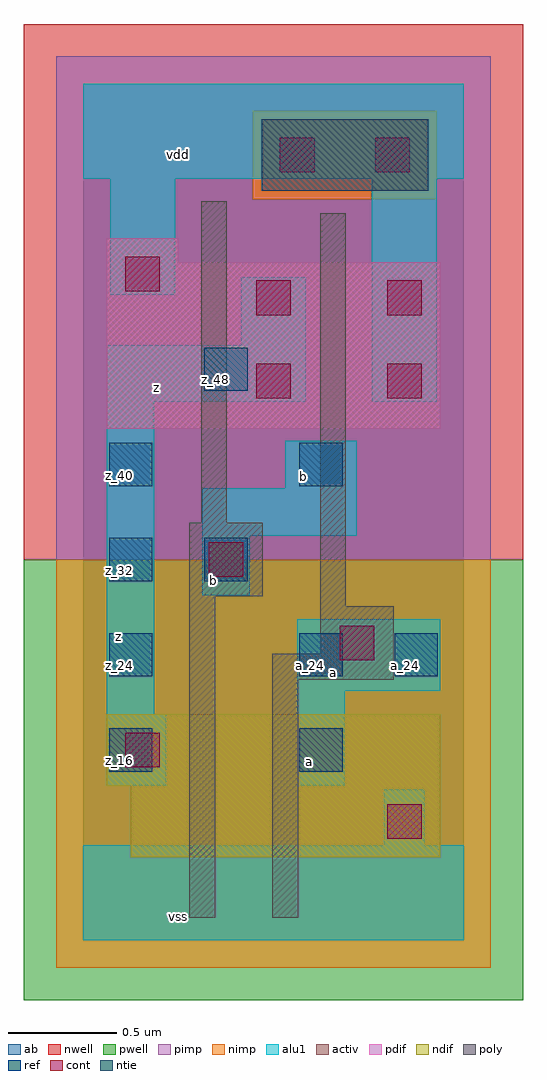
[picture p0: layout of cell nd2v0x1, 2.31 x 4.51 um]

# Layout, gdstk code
import gdstk
lib = gdstk.Library(unit=1e-6, precision=2.5e-09)
def R(c, l, rs):  # rectangles x0, y0, x1, y1
    for r in rs: c.add(gdstk.rectangle(r[:2], r[2:], *l))
def A(c, l, x, y, w, h, nx, ny, dx, dy):  # array of equal rectangles
    R(c, l, [(x+i*dx, y+j*dy, x+i*dx+w, y+j*dy+h) for i in range(nx) for j in range(ny)])
ndif = (3, 0)
pdif = (4, 0)
ntie = (5, 0)
ref = (24, 0)
cont = (25, 0)
pwell = (41, 0)
nwell = (42, 0)
activ = (43, 0)
pimp = (44, 0)
nimp = (45, 0)
poly = (46, 0)
alu1 = (49, 0)
ab = (63, 0)

nd2v0x1 = lib.new_cell('nd2v0x1')
R(nd2v0x1, ndif, [(0.22,0.385,1.65,0.715), (0.11,0.715,1.65,1.045)])
R(nd2v0x1, pdif, [(0.11,2.365,1.65,3.135), (0.11,3.135,0.44,3.245)])
R(nd2v0x1, ntie, [(0.825,3.465,1.595,3.795)])
A(nd2v0x1, ref, 0.12, 0.78, 0.2, 0.2, 1, 4, 0, 0.44)
R(nd2v0x1, ref, [(1,0.78,1.2,0.98), (1,1.22,1.2,1.42), (1.44,1.22,1.64,1.42), (0.56,1.66,0.76,1.86), (1,2.1,1.2,2.3), (0.56,2.54,0.76,2.74)])
R(nd2v0x1, cont, [(1.405,0.47,1.565,0.63), (0.195,0.8,0.355,0.96), (1.185,1.295,1.345,1.455), (0.58,1.68,0.74,1.84), (0.8,2.505,0.96,2.665), (1.405,2.505,1.565,2.665), (0.8,2.89,0.96,3.05), (1.405,2.89,1.565,3.05), (0.195,3,0.355,3.16), (0.91,3.55,1.07,3.71), (1.35,3.55,1.51,3.71)])
R(nd2v0x1, pwell, [(-0.275,-0.275,2.035,1.76)])
R(nd2v0x1, nwell, [(-0.275,1.76,2.035,4.235)])
R(nd2v0x1, activ, [(0.22,0.385,1.65,0.715), (0.11,0.715,1.65,1.045), (0.11,2.365,1.65,3.135), (0.11,3.135,0.44,3.245), (0.825,3.465,1.595,3.795)])
R(nd2v0x1, pimp, [(-0.125,1.76,1.885,3.425), (-0.125,3.425,0.785,3.835), (1.635,3.425,1.885,3.835), (-0.125,3.835,1.885,4.085)])
R(nd2v0x1, nimp, [(-0.125,-0.125,1.885,1.76), (0.785,3.425,1.635,3.835)])
R(nd2v0x1, poly, [(0.49,0.105,0.61,1.59), (0.875,0.105,0.995,1.205), (0.875,1.205,1.435,1.325), (1.095,1.325,1.435,1.545), (1.095,1.545,1.215,3.36), (0.49,1.59,0.83,1.93), (0.545,1.93,0.665,3.415)])
R(nd2v0x1, alu1, [(0,0,1.76,0.44), (1.39,0.44,1.58,0.7), (0.11,0.715,0.385,1.045), (0.99,0.715,1.21,1.155), (0.11,1.045,0.33,2.49), (0.99,1.155,1.65,1.485), (0.55,1.595,0.77,1.87), (0.55,1.87,1.265,2.09), (0.935,2.09,1.265,2.31), (0.11,2.49,1.03,2.75), (1.335,2.49,1.635,3.52), (0.73,2.75,1.03,3.065), (0.125,2.985,0.425,3.52), (0,3.52,1.76,3.96)])
R(nd2v0x1, ab, [(0,0,1.76,3.96)])
nd2v0x1.add(gdstk.Label('vss', (0.44,0.11), layer=49, texttype=0))
nd2v0x1.add(gdstk.Label('a', (1.045,0.825), layer=49, texttype=0))
nd2v0x1.add(gdstk.Label('a', (1.155,1.2375), layer=49, texttype=0))
nd2v0x1.add(gdstk.Label('b', (0.605,1.6625), layer=49, texttype=0))
nd2v0x1.add(gdstk.Label('b', (1.0175,2.145), layer=49, texttype=0))
nd2v0x1.add(gdstk.Label('z', (0.165,1.405), layer=49, texttype=0))
nd2v0x1.add(gdstk.Label('z', (0.34,2.555), layer=49, texttype=0))
nd2v0x1.add(gdstk.Label('vdd', (0.44,3.63), layer=49, texttype=0))
nd2v0x1.add(gdstk.Label('z_16', (0.17,0.83), layer=24, texttype=0))
nd2v0x1.add(gdstk.Label('z_48', (0.61,2.59), layer=24, texttype=0))
nd2v0x1.add(gdstk.Label('z_40', (0.17,2.15), layer=24, texttype=0))
nd2v0x1.add(gdstk.Label('b_32', (0.61,1.71), layer=24, texttype=0))
nd2v0x1.add(gdstk.Label('b_40', (1.05,2.15), layer=24, texttype=0))
nd2v0x1.add(gdstk.Label('a_16', (1.05,0.83), layer=24, texttype=0))
nd2v0x1.add(gdstk.Label('a_24', (1.49,1.27), layer=24, texttype=0))
nd2v0x1.add(gdstk.Label('a_24', (1.05,1.27), layer=24, texttype=0))
nd2v0x1.add(gdstk.Label('z_24', (0.17,1.27), layer=24, texttype=0))
nd2v0x1.add(gdstk.Label('z_32', (0.17,1.71), layer=24, texttype=0))

lib.write_gds('nd2v0x1.gds')
